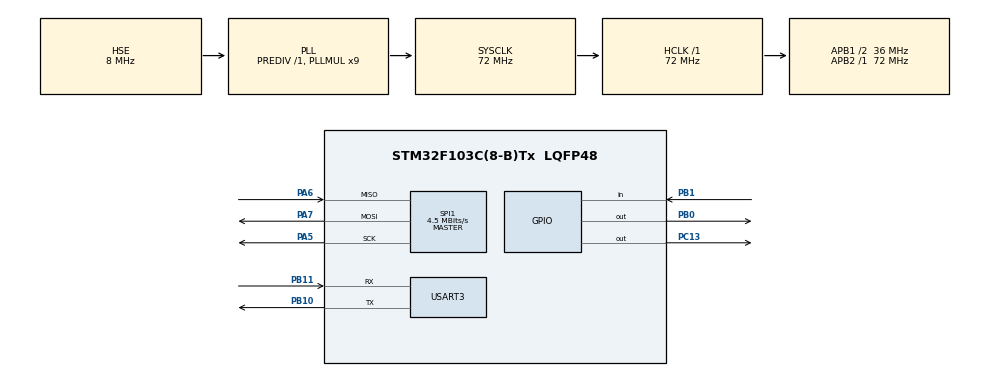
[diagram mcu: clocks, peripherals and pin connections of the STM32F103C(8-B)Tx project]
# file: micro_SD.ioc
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FATFS._MAX_SS=4096
FATFS._USE_LFN=1
Mcu.Family=STM32F1
Mcu.Name=STM32F103C(8-B)Tx
Mcu.Package=LQFP48
NVIC.PriorityGroup=NVIC_PRIORITYGROUP_4
PA13.Mode=Serial_Wire
PA13.Signal=SYS_JTMS-SWDIO
PA14.Mode=Serial_Wire
PA14.Signal=SYS_JTCK-SWCLK
PA5.Mode=Full_Duplex_Master
PA5.Signal=SPI1_SCK
PA6.Mode=Full_Duplex_Master
PA6.Signal=SPI1_MISO
PA7.Mode=Full_Duplex_Master
PA7.Signal=SPI1_MOSI
PB0.Signal=GPIO_Output
PB1.GPIO_PuPd=GPIO_PULLUP
PB1.Signal=GPIO_Input
PB10.Mode=Asynchronous
PB10.Signal=USART3_TX
PB11.Mode=Asynchronous
PB11.Signal=USART3_RX
PC13-TAMPER-RTC.Signal=GPIO_Output
PD0-OSC_IN.Mode=HSE-External-Oscillator
PD0-OSC_IN.Signal=RCC_OSC_IN
PD1-OSC_OUT.Mode=HSE-External-Oscillator
PD1-OSC_OUT.Signal=RCC_OSC_OUT
ProjectManager.HeapSize=0x200
ProjectManager.StackSize=0x400
ProjectManager.TargetToolchain=MDK-ARM V5.32
RCC.AHBFreq_Value=72000000
RCC.APB1CLKDivider=RCC_HCLK_DIV2
RCC.APB1Freq_Value=36000000
RCC.APB1TimFreq_Value=72000000
RCC.APB2Freq_Value=72000000
RCC.APB2TimFreq_Value=72000000
RCC.HCLKFreq_Value=72000000
RCC.PLLMUL=RCC_PLL_MUL9
RCC.PLLSourceVirtual=RCC_PLLSOURCE_HSE
RCC.SYSCLKFreq_VALUE=72000000
RCC.SYSCLKSource=RCC_SYSCLKSOURCE_PLLCLK
RCC.USBFreq_Value=72000000
SPI1.BaudRatePrescaler=SPI_BAUDRATEPRESCALER_16
SPI1.CalculateBaudRate=4.5 MBits/s
SPI1.Direction=SPI_DIRECTION_2LINES
SPI1.Mode=SPI_MODE_MASTER
SPI1.VirtualType=VM_MASTER
USART3.VirtualMode=VM_ASYNC
VP_FATFS_VS_Generic.Mode=User_defined
board=custom

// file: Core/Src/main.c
/* USER CODE BEGIN Header */
/**
  ******************************************************************************
  * @file           : main.c
  * @brief          : Main program body
  ******************************************************************************
  * @attention
  *
  * Copyright (c) 2025 STMicroelectronics.
  * All rights reserved.
  *
  * This software is licensed under terms that can be found in the LICENSE file
  * in the root directory of this software component.
  * If no LICENSE file comes with this software, it is provided AS-IS.
  *
  ******************************************************************************
  */
/* USER CODE END Header */
#include "main.h"
#include "fatfs.h"

/* USER CODE BEGIN Includes */
#include "flash.h"
#include "stdarg.h"
#include "stdio.h"
#include "string.h"
/* USER CODE END Includes */

SPI_HandleTypeDef hspi1;

UART_HandleTypeDef huart3;

void SystemClock_Config(void);
static void MX_GPIO_Init(void);
static void MX_SPI1_Init(void);
static void MX_USART3_UART_Init(void);

/* USER CODE BEGIN 0 */

#define ADDR_APP_PROGRAM   0x0800C800U
#define START_PAGE         50
#define END_PAGE           127
#define BLOCK_SIZE         256

/* Typedef */
typedef void (*pFunction)(void);

FATFS fs;
FIL fil;
FRESULT fr;
UINT br;
uint8_t firmware_buffer[BLOCK_SIZE];
char buff[150];

void HAL_PRINTF(const char* format, ...) {
    va_list args;
    va_start(args, format);
    memset(buff, 0, sizeof(buff));
    vsnprintf(buff, sizeof(buff), format, args);
    va_end(args);
    HAL_UART_Transmit(&huart3, (uint8_t*)buff, strlen(buff), 1000);
}

/* Flash erase pages */
void erase_page_by_user(uint8_t start, uint8_t stop) {
    HAL_PRINTF("Erasing flash pages %d to %d...\n", start, stop - 1);
    HAL_FLASH_Unlock();

    for (uint8_t i = start; i < stop; i++) {
        uint32_t addr = 0x08000000 + 1024 * i;
        flash_erase(addr);
    }

    HAL_PRINTF("Flash erase completed!\n");
}

void verify_application(void) {
    uint32_t* app_addr = (uint32_t*)ADDR_APP_PROGRAM;

    HAL_PRINTF("\n=== APPLICATION VERIFICATION ===\n");
    HAL_PRINTF("Application address: 0x%08X\n", ADDR_APP_PROGRAM);
    HAL_PRINTF("Stack pointer: 0x%08lX\n", app_addr[0]);
    HAL_PRINTF("Reset handler: 0x%08lX\n", app_addr[1]);

    if (app_addr[0] >= 0x20000000 && app_addr[0] <= 0x20005000) {
        HAL_PRINTF("Stack pointer: VALID\n");
    } else {
        HAL_PRINTF("Stack pointer: INVALID!\n");
    }

    if (app_addr[1] >= ADDR_APP_PROGRAM && app_addr[1] <= 0x08010000) {
        HAL_PRINTF("Reset handler: VALID\n");
    } else {
        HAL_PRINTF("Reset handler: INVALID!\n");
    }

    HAL_PRINTF("First 32 bytes of application:\n");
    for(int i = 0; i < 8; i++) {
        HAL_PRINTF("0x%08lX: 0x%08lX\n", ADDR_APP_PROGRAM + i*4, app_addr[i]);
    }

    if (app_addr[0] != 0xFFFFFFFF && app_addr[1] != 0xFFFFFFFF &&
        app_addr[0] != 0x00000000 && app_addr[1] != 0x00000000) {
        HAL_PRINTF("Application appears to be flashed correctly\n");
    } else {
        HAL_PRINTF("WARNING: Application may not be valid!\n");
    }

    HAL_PRINTF("=== END VERIFICATION ===\n\n");
}

void enter_to_application(void) {
    uint32_t* app_addr = (uint32_t*)ADDR_APP_PROGRAM;

    HAL_PRINTF("Preparing to jump to application...\n");
    HAL_PRINTF("Final check - SP: 0x%08lX, PC: 0x%08lX\n", app_addr[0], app_addr[1]);

    if (app_addr[0] < 0x20000000 || app_addr[0] > 0x20005000) {
        HAL_PRINTF("ERROR: Invalid stack pointer! Aborting jump.\n");
        return;
    }

    if (app_addr[1] < ADDR_APP_PROGRAM || app_addr[1] > 0x08010000) {
        HAL_PRINTF("ERROR: Invalid reset handler! Aborting jump.\n");
        return;
    }

    HAL_PRINTF("Starting application...\n");
    HAL_Delay(500);

    __disable_irq();

    HAL_UART_DeInit(&huart3);
    HAL_SPI_DeInit(&hspi1);
    HAL_RCC_DeInit();
    HAL_DeInit();

    SysTick->CTRL = 0;
    SysTick->LOAD = 0;
    SysTick->VAL = 0;

    for (int i = 0; i < 8; i++) {
        NVIC->ICPR[i] = 0xFFFFFFFF;
    }

    SCB->SHCSR &= ~(SCB_SHCSR_USGFAULTENA_Msk |
                    SCB_SHCSR_BUSFAULTENA_Msk |
                    SCB_SHCSR_MEMFAULTENA_Msk);

    SCB->VTOR = ADDR_APP_PROGRAM;

    __set_MSP(app_addr[0]);
    pFunction app_entry = (pFunction)(app_addr[1]);
    app_entry();
}

uint8_t load_firmware_from_sdcard(const char* filename) {
    uint32_t write_address = ADDR_APP_PROGRAM;
    uint32_t total_bytes_written = 0;

    HAL_PRINTF("Starting firmware update...\n");

    fr = f_mount(&fs, "", 1);
    if (fr != FR_OK) {
        HAL_PRINTF("SD mount failed: %d\n", fr);
        return 0;
    }
    HAL_PRINTF("SD card mounted OK\n");

    fr = f_open(&fil, filename, FA_READ);
    if (fr != FR_OK) {
        HAL_PRINTF("File open failed: %d\n", fr);
        return 0;
    }

    uint32_t file_size = fil.fsize;
    HAL_PRINTF("Firmware size: %lu bytes\n", file_size);

    if (file_size == 0) {
        HAL_PRINTF("File is empty!\n");
        f_close(&fil);
        return 0;
    }

    if (file_size > 14336) {
        HAL_PRINTF("WARNING: File too large (%lu bytes > 14KB)\n", file_size);
    }

    erase_page_by_user(START_PAGE, END_PAGE);

    HAL_PRINTF("Writing firmware to flash...\n");

    while (total_bytes_written < file_size) {
        fr = f_read(&fil, firmware_buffer, BLOCK_SIZE, &br);
        if (fr != FR_OK || br == 0) {
            HAL_PRINTF("Read error: %d\n", fr);
            break;
        }

        flash_write(write_address, firmware_buffer, br);

        write_address += br;
        total_bytes_written += br;

        if (total_bytes_written % 1024 == 0 || total_bytes_written == file_size) {
            HAL_PRINTF("Progress: %lu/%lu bytes\n", total_bytes_written, file_size);
        }
    }

    f_close(&fil);
    HAL_FLASH_Lock();

    if (total_bytes_written == file_size) {
        HAL_PRINTF("Firmware update SUCCESS!\n");

        verify_application();

        return 1;
    } else {
        HAL_PRINTF("Update FAILED! %lu/%lu bytes\n", total_bytes_written, file_size);
        return 0;
    }
}

uint8_t count_d=0;

/* USER CODE END 0 */

int main(void)
{

  /* MCU Configuration--------------------------------------------------------*/

  /* Reset of all peripherals, Initializes the Flash interface and the Systick. */
  HAL_Init();

  /* Configure the system clock */
  SystemClock_Config();

  /* Initialize all configured peripherals */
  MX_GPIO_Init();
  MX_SPI1_Init();
  MX_FATFS_Init();
  MX_USART3_UART_Init();
  /* USER CODE BEGIN 2 */
//	strcpy(file_name, "logan.txt");
//	strcpy(file_name1, "main.bin");
//	sdcard_logan_read();

		HAL_PRINTF("\n=== STM32 SD Card Bootloader v2.0 ===\n");
    HAL_PRINTF("Bootloader running at: 0x%08lX\n", (uint32_t)main);
    HAL_PRINTF("Application will be loaded at: 0x%08X\n", ADDR_APP_PROGRAM);
    HAL_PRINTF("Available app space: %d KB\n", (END_PAGE - START_PAGE));
    HAL_PRINTF("Press PB1 to update firmware from main.bin\n");

    uint32_t* app_check = (uint32_t*)ADDR_APP_PROGRAM;
    if (app_check[0] != 0xFFFFFFFF && app_check[1] != 0xFFFFFFFF) {
        HAL_PRINTF("Existing application detected at 0x%08X\n", ADDR_APP_PROGRAM);
        HAL_PRINTF("SP: 0x%08lX, PC: 0x%08lX\n", app_check[0], app_check[1]);
    } else {
        HAL_PRINTF("No application found - flash is empty\n");
    }

    HAL_PRINTF("Bootloader ready!\n\n");

  /* USER CODE END 2 */

  /* Infinite loop */
  while (1)
  {

    /* USER CODE BEGIN 3 */

if (HAL_GPIO_ReadPin(GPIOB, GPIO_PIN_1) == GPIO_PIN_RESET) {
            HAL_Delay(50);
            if (HAL_GPIO_ReadPin(GPIOB, GPIO_PIN_1) == GPIO_PIN_RESET) {
                HAL_PRINTF("\n*** PB1 PRESSED - Starting Update ***\n");

                if (load_firmware_from_sdcard("main.bin")) {
                    HAL_PRINTF("*** UPDATE SUCCESSFUL ***\n");

                    HAL_PRINTF("Press PB1 again within 5 seconds to start application\n");
                    HAL_PRINTF("Or wait to return to bootloader mode\n");

                    uint32_t start_time = HAL_GetTick();
                    uint8_t second_press = 0;

                    while ((HAL_GetTick() - start_time) < 5000) {
                        if (HAL_GPIO_ReadPin(GPIOB, GPIO_PIN_1) == GPIO_PIN_RESET) {
                            HAL_Delay(50);
                            if (HAL_GPIO_ReadPin(GPIOB, GPIO_PIN_1) == GPIO_PIN_RESET) {
                                second_press = 1;
                                break;
                            }
                        }
                        HAL_Delay(100);
                    }

                    if (second_press) {
                        HAL_PRINTF("Second press detected - starting application...\n");
                        enter_to_application();
                    } else {
                        HAL_PRINTF("Timeout - staying in bootloader\n");
                    }

                } else {
                    HAL_PRINTF("*** UPDATE FAILED ***\n");
                    HAL_PRINTF("Check SD card and try again\n");
                }

                while (HAL_GPIO_ReadPin(GPIOB, GPIO_PIN_1) == GPIO_PIN_RESET) {
                    HAL_Delay(10);
                }
                HAL_PRINTF("Ready for next operation\n\n");
            }
        }

  }
  /* USER CODE END 3 */
}

void SystemClock_Config(void)
{
  RCC_OscInitTypeDef RCC_OscInitStruct = {0};
  RCC_ClkInitTypeDef RCC_ClkInitStruct = {0};

  /** Initializes the RCC Oscillators according to the specified parameters
  * in the RCC_OscInitTypeDef structure.
  */
  RCC_OscInitStruct.OscillatorType = RCC_OSCILLATORTYPE_HSE;
  RCC_OscInitStruct.HSEState = RCC_HSE_ON;
  RCC_OscInitStruct.HSEPredivValue = RCC_HSE_PREDIV_DIV1;
  RCC_OscInitStruct.HSIState = RCC_HSI_ON;
  RCC_OscInitStruct.PLL.PLLState = RCC_PLL_ON;
  RCC_OscInitStruct.PLL.PLLSource = RCC_PLLSOURCE_HSE;
  RCC_OscInitStruct.PLL.PLLMUL = RCC_PLL_MUL9;
  if (HAL_RCC_OscConfig(&RCC_OscInitStruct) != HAL_OK)
  {
    Error_Handler();
  }

  /** Initializes the CPU, AHB and APB buses clocks
  */
  RCC_ClkInitStruct.ClockType = RCC_CLOCKTYPE_HCLK|RCC_CLOCKTYPE_SYSCLK
                              |RCC_CLOCKTYPE_PCLK1|RCC_CLOCKTYPE_PCLK2;
  RCC_ClkInitStruct.SYSCLKSource = RCC_SYSCLKSOURCE_PLLCLK;
  RCC_ClkInitStruct.AHBCLKDivider = RCC_SYSCLK_DIV1;
  RCC_ClkInitStruct.APB1CLKDivider = RCC_HCLK_DIV2;
  RCC_ClkInitStruct.APB2CLKDivider = RCC_HCLK_DIV1;

  if (HAL_RCC_ClockConfig(&RCC_ClkInitStruct, FLASH_LATENCY_2) != HAL_OK)
  {
    Error_Handler();
  }
}

static void MX_SPI1_Init(void)
{

  /* SPI1 parameter configuration*/
  hspi1.Instance = SPI1;
  hspi1.Init.Mode = SPI_MODE_MASTER;
  hspi1.Init.Direction = SPI_DIRECTION_2LINES;
  hspi1.Init.DataSize = SPI_DATASIZE_8BIT;
  hspi1.Init.CLKPolarity = SPI_POLARITY_LOW;
  hspi1.Init.CLKPhase = SPI_PHASE_1EDGE;
  hspi1.Init.NSS = SPI_NSS_SOFT;
  hspi1.Init.BaudRatePrescaler = SPI_BAUDRATEPRESCALER_16;
  hspi1.Init.FirstBit = SPI_FIRSTBIT_MSB;
  hspi1.Init.TIMode = SPI_TIMODE_DISABLE;
  hspi1.Init.CRCCalculation = SPI_CRCCALCULATION_DISABLE;
  hspi1.Init.CRCPolynomial = 10;
  if (HAL_SPI_Init(&hspi1) != HAL_OK)
  {
    Error_Handler();
  }

}

static void MX_USART3_UART_Init(void)
{

  huart3.Instance = USART3;
  huart3.Init.BaudRate = 115200;
  huart3.Init.WordLength = UART_WORDLENGTH_8B;
  huart3.Init.StopBits = UART_STOPBITS_1;
  huart3.Init.Parity = UART_PARITY_NONE;
  huart3.Init.Mode = UART_MODE_TX_RX;
  huart3.Init.HwFlowCtl = UART_HWCONTROL_NONE;
  huart3.Init.OverSampling = UART_OVERSAMPLING_16;
  if (HAL_UART_Init(&huart3) != HAL_OK)
  {
    Error_Handler();
  }

}

static void MX_GPIO_Init(void)
{
  GPIO_InitTypeDef GPIO_InitStruct = {0};

  /* GPIO Ports Clock Enable */
  __HAL_RCC_GPIOC_CLK_ENABLE();
  __HAL_RCC_GPIOD_CLK_ENABLE();
  __HAL_RCC_GPIOA_CLK_ENABLE();
  __HAL_RCC_GPIOB_CLK_ENABLE();

  /*Configure GPIO pin Output Level */
  HAL_GPIO_WritePin(GPIOC, GPIO_PIN_13, GPIO_PIN_RESET);

  /*Configure GPIO pin Output Level */
  HAL_GPIO_WritePin(GPIOB, GPIO_PIN_0, GPIO_PIN_RESET);

  /*Configure GPIO pin : PC13 */
  GPIO_InitStruct.Pin = GPIO_PIN_13;
  GPIO_InitStruct.Mode = GPIO_MODE_OUTPUT_PP;
  GPIO_InitStruct.Pull = GPIO_NOPULL;
  GPIO_InitStruct.Speed = GPIO_SPEED_FREQ_LOW;
  HAL_GPIO_Init(GPIOC, &GPIO_InitStruct);

  /*Configure GPIO pin : PB0 */
  GPIO_InitStruct.Pin = GPIO_PIN_0;
  GPIO_InitStruct.Mode = GPIO_MODE_OUTPUT_PP;
  GPIO_InitStruct.Pull = GPIO_NOPULL;
  GPIO_InitStruct.Speed = GPIO_SPEED_FREQ_LOW;
  HAL_GPIO_Init(GPIOB, &GPIO_InitStruct);

  /*Configure GPIO pin : PB1 */
  GPIO_InitStruct.Pin = GPIO_PIN_1;
  GPIO_InitStruct.Mode = GPIO_MODE_INPUT;
  GPIO_InitStruct.Pull = GPIO_PULLUP;
  HAL_GPIO_Init(GPIOB, &GPIO_InitStruct);

}

void Error_Handler(void)
{
  __disable_irq();
  while (1)
  {
  }
}
